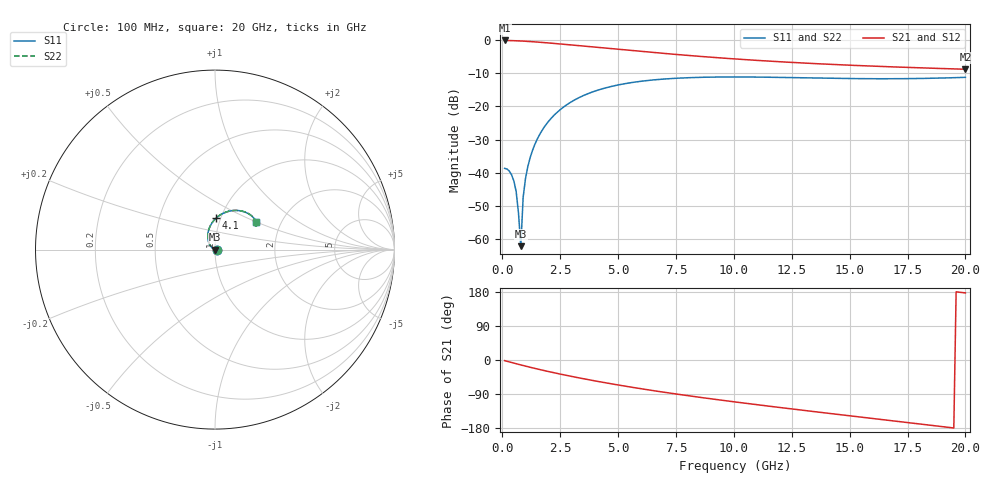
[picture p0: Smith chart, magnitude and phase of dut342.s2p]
! Touchstone file exported from HFSS 2024.1.0
!  File:  C:/UserFiles/LocalFiles/RDL_TSV_Batchsim/temp_RDL_TSV_342_1779635560.aedt
!  Generated:  11:32:41 PM May 24, 2026
!  Design:  RDL_TSV
!  Project:  temp_RDL_TSV_342_1779635560
!  Setup:  Setup1
!  Solution:  Sweep
! Variables:
!  dtsv = 8.62um
!  hbump = 3um
!  htsv = 95.94um
!  ldown = 622.66um
!  lrdl = 114.96um
!  p = 40
!  p1 = 51.65um
!  rhole = 10um
!  subl = 2327.82um
!  t = 450um
!  tdown = 3.82um
!  trdl = 4.19um
!  viad = 10um
!  wdown = 23.88um
!  wrdl = 11.36um
!  xbump = 18um
# GHz S MA R 50.000000
! Terminal data exported
! Port[1] = TM1_1_T1
! Port[2] = TM1_4_T1
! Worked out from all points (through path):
!   200 points, 100 MHz to 20 GHz, reference 50 ohm
!   highest |S21| = -0.11 dB at 100 MHz (marker M1); lowest = -8.8 dB at 20 GHz (marker M2)
!   group delay of S21, straight-line fit = 23.8 ps
!   lowest |S11| = -62.1 dB at 800 MHz (marker M3), VSWR 1.00, Z = 49.9 - j0.00898 ohm
!   |S11| at or under -10 dB: start of sweep to end of sweep
!   |S22| runs from -62.0 to -11.1 dB; largest |S21 - S12| = 1.5e-13
!   S11 on the Smith chart (normalised r, x): 100 MHz: 1.02, -0.00; 4.1 GHz: 0.95, +0.34; 20 GHz: 1.50, +0.49
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0.1  0.01169 -0.6  0.9878 -1.7  0.9878 -1.7  0.01169 -0.6
! Gamma 0 0 0 0
! Port Impedance 50 0 50 0
0.3  0.01068 -5.5  0.9847 -5.0  0.9847 -5.0  0.01068 -5.5
0.4  0.009361 -9.0  0.9825 -6.6  0.9825 -6.6  0.009357 -9.0
0.5  0.007524 -12.8  0.9799 -8.2  0.9799 -8.2  0.007519 -12.8
0.6  0.005214 -17.2  0.9769 -9.8  0.9769 -9.8  0.005207 -17.3
0.7  0.002476 -24.7  0.9735 -11.4  0.9735 -11.4  0.002467 -24.7
0.8  0.0007865 -173.4  0.9698 -13.0  0.9698 -13.0  0.0007977 -173.7
0.9  0.004253 162.0  0.9657 -14.6  0.9657 -14.6  0.004268 162.0
1  0.008127 156.7  0.9613 -16.1  0.9613 -16.1  0.008145 156.8
1.2  0.01681 149.7  0.9517 -19.1  0.9517 -19.1  0.01684 149.7
1.4  0.02654 143.7  0.9411 -22.1  0.9411 -22.1  0.02658 143.7
1.8  0.04825 133.0  0.9181 -27.8  0.9181 -27.8  0.04831 133.0
2.2  0.07163 123.3  0.8937 -33.2  0.8937 -33.2  0.07171 123.3
2.8  0.1071 110.5  0.8564 -40.9  0.8564 -40.9  0.1072 110.5
3.5  0.1458 97.6  0.8135 -49.4  0.8135 -49.4  0.146 97.6
4.1  0.1751 88.1  0.7779 -56.2  0.7779 -56.2  0.1753 88.1
5.3  0.2209 72.4  0.7113 -69.0  0.7113 -69.0  0.2212 72.5
6.8  0.2562 57.7  0.6381 -83.4  0.6381 -83.4  0.2567 57.8
10.1  0.2785 38.2  0.5187 -111.1  0.5187 -111.1  0.2791 38.2
13.4  0.2689 30.4  0.4443 -135.7  0.4443 -135.7  0.2696 30.4
16.7  0.2617 30.5  0.3969 -159.4  0.3969 -159.4  0.2623 30.4
20  0.2749 33.5  0.3638 177.0  0.3638 177.0  0.2754 33.4
